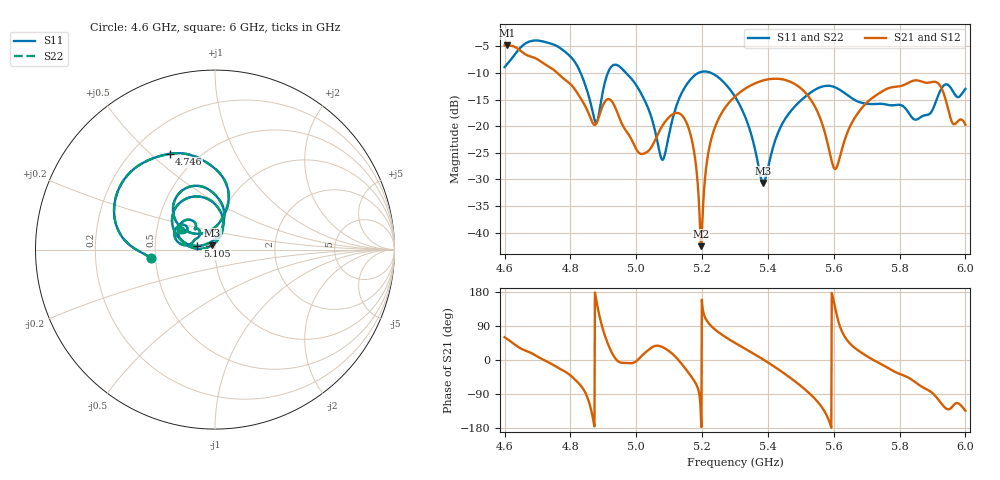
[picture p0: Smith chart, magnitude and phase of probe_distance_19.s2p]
! TOUCHSTONE file generated by CST MICROWAVE STUDIO
! Date and time: Sat Nov 30 13:11:01 2024
! Project name: test_tuning.cst
! Parameters = {airCoaxOuterDiameter=3; chamferAngle=45; chamferWidth=24; connectorLength=10; drillingHoleDiameter=4.1; feedLength=60; flareDiameter=130; flareLength=70; gratingDistance=0; gratingGap=1.90274; outletLength=30; polarizerLength=134; probe1Diameter=1.3; probe1Distance=17; probe1Length=1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
! Header version: 2024
! Port assignment regex: !\s*Touchstone port\s*([0-9]+)\s*=\s*(CST MWS port|CST DES external port|CST DES block port)\s*(.+)\s* \(\"(.*)\"\)(\s*mode\s*([0-9]+))?.*
! Touchstone port assignment:
! Touchstone port 1 = CST MWS port 1 ("Input1")
! Touchstone port 2 = CST MWS port 2 ("Input2")
# GHz S MA R 50
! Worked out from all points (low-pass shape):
!   1001 points, 4.6 GHz to 6 GHz, reference 50 ohm
!   highest |S21| = -4.82 dB at 4.608 GHz (marker M1); lowest = -42.5 dB at 5.196 GHz (marker M2)
!   |S21| within 3 dB of the highest: start of sweep to 4.71 GHz
!   lowest |S11| = -30.6 dB at 5.385 GHz (marker M3), VSWR 1.06, Z = 48.4 + j2.43 ohm
!   |S11| at or under -10 dB: 4.831 GHz to 4.914 GHz (82.54 MHz wide, 1.69 % of centre); 4.969 GHz to 5.188 GHz (218.9 MHz wide, 4.31 % of centre); 5.228 GHz to end of sweep
!   |S22| runs from -30.6 to -3.9 dB; largest |S21 - S12| = 6.5e-07
!   S11 on the Smith chart (normalised r, x): 4.6 GHz: 0.47, -0.05; 4.746 GHz: 0.35, +0.58; 5.105 GHz: 0.82, +0.03; 6 GHz: 0.66, +0.15
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4.6  0.3597 -172.8  0.5731 60.0  0.5731 60.0  0.3597 -172.8
4.6084  0.3863 -175.6  0.5742 55.1  0.5742 55.1  0.3863 -175.6
4.67  0.615 155.6  0.4623 22.5  0.4623 22.5  0.615 155.6
4.7456  0.5905 115.4  0.3456 -12.0  0.3456 -12.0  0.5905 115.4
4.8338  0.3017 75.3  0.1773 -70.2  0.1773 -70.2  0.3017 75.3
4.8786  0.1075 113.5  0.1061 157.8  0.1061 157.8  0.1075 113.5
4.9164  0.3312 134.9  0.1799 37.1  0.1799 37.1  0.3312 134.9
4.9556  0.3492 99.0  0.1066 -7.3  0.1066 -7.3  0.3492 99.0
5.0144  0.204 75.4  0.05492 9.3  0.05492 9.3  0.204 75.4
5.0676  0.06371 86.2  0.08676 37.4  0.08676 37.4  0.06371 86.2
5.1054  0.1013 168.4  0.1261 19.5  0.1261 19.5  0.1013 168.4
5.1628  0.2701 150.8  0.08808 -38.4  0.08808 -38.4  0.2701 150.8
5.1964  0.3238 130.3  0.007459 -146.6  0.007459 -146.6  0.3238 130.3
5.23  0.3142 109.6  0.08017 87.5  0.08017 87.5  0.3142 109.6
5.3  0.1896 77.6  0.19 45.1  0.19 45.1  0.1896 77.6
5.3854  0.02935 121.5  0.2695 1.5  0.2695 1.5  0.02935 121.5
5.4442  0.1062 177.0  0.276 -32.2  0.276 -32.2  0.1062 177.0
5.5338  0.2113 160.4  0.1707 -94.4  0.1707 -94.4  0.2113 160.4
5.6052  0.2312 134.6  0.03969 134.2  0.03969 134.2  0.2312 134.6
5.7676  0.158 133.7  0.2286 -22.6  0.2286 -22.6  0.158 133.7
5.9118  0.1753 171.7  0.2592 -98.0  0.2592 -98.0  0.1753 171.7
6  0.2243 151.2  0.1031 -133.9  0.1031 -133.9  0.2243 151.2
